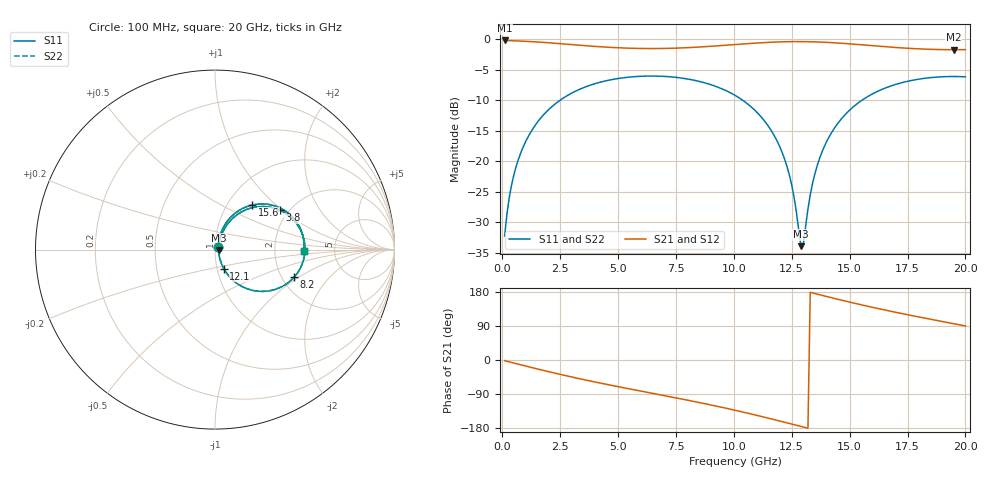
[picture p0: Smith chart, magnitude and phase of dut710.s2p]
! Touchstone file exported from HFSS 2026.1.0
!  File:  C:/ffzhzh/LocalFiles/Ansys_Project_Files/temp_train_TSV_RDL_710_1783200125_55132.aedt
!  Generated:  05:34:07 AM Jul  5, 2026
!  Design:  TSV_RDL
!  Project:  temp_train_TSV_RDL_710_1783200125_55132
! Variables:
!  h_bsmrdl = 4.72um
!  h_ox = 20um
!  h_rdl = 5um
!  h_sub = 56.37um
!  h_tmrdl = 2.67um
!  h_tsv = 56.37um
!  h_via = 3um
!  l_bsmrdl = 383.03um
!  l_sub = 4819.06um
!  l_tmrdl = 776.58um
!  m_sub = 200um
!  pitch = 56.41um
!  r_tsv = 14.25um
!  s_tmrdl = 10um
!  w_bsmrdl = 25.4um
!  w_sub = 500um
!  w_tmrdl = 29.15um
!  x_tsv_center1 = 791.155um
!  x_tsv_center2 = 1199.585um
!  x_tsv_center3 = 2005.315um
!  x_tsv_center4 = 2413.745um
!  x_tsv_center5 = 3219.475um
!  x_tsv_center6 = 3627.905um
# GHz S MA R 50.000000
! Terminal data exported
! Port[1] = TM_RDL1_1_T1
! Port[2] = TM_RDL5_1_T1
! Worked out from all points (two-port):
!   200 points, 100 MHz to 20 GHz, reference 50 ohm
!   highest |S21| = -0.16 dB at 100 MHz (marker M1); lowest = -1.7 dB at 19.5 GHz (marker M2)
!   |S21| within 3 dB of the highest: start of sweep to end of sweep
!   lowest |S11| = -33.9 dB at 12.9 GHz (marker M3), VSWR 1.04, Z = 52 - j0.484 ohm
!   |S11| at or under -10 dB: start of sweep to 2.484 GHz; 10.39 GHz to 15.52 GHz (5.128 GHz wide, 39.6 % of centre)
!   |S22| runs from -33.7 to -6.0 dB; largest |S21 - S12| = 1.5e-14
!   S11 on the Smith chart (normalised r, x): 100 MHz: 1.04, +0.03; 3.8 GHz: 1.79, +0.96; 8.2 GHz: 2.32, -0.92; 12.1 GHz: 1.08, -0.23; 15.6 GHz: 1.30, +0.72; 20 GHz: 2.95, -0.06
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0.1  0.02442 39.3  0.9814 -1.7  0.9814 -1.7  0.02442 39.3
! Gamma 0 0 0 0
! Port Impedance 50 0 50 0
0.3  0.05038 61.1  0.9785 -4.9  0.9785 -4.9  0.05038 61.1
0.5  0.07747 65.4  0.9753 -8.1  0.9753 -8.1  0.07747 65.4
1.1  0.1572 63.9  0.9639 -17.4  0.9639 -17.4  0.1572 63.9
2.1  0.2767 52.7  0.9365 -32.3  0.9365 -32.3  0.2767 52.7
3.5  0.4019 35.1  0.8915 -51.6  0.8915 -51.6  0.4019 35.1
3.8  0.4218 31.5  0.8827 -55.5  0.8827 -55.5  0.4218 31.5
6.8  0.4999 -3.2  0.843 -91.7  0.843 -91.7  0.4999 -3.2
8.2  0.4665 -19.3  0.8602 -108.5  0.8602 -108.5  0.4665 -19.3
10.1  0.3438 -42.7  0.9101 -133.2  0.9101 -133.2  0.3438 -42.6
11.3  0.2176 -57.7  0.9427 -150.6  0.9427 -150.6  0.2176 -57.6
12.1  0.1166 -65.2  0.9567 -162.8  0.9567 -162.8  0.1167 -64.9
12.5  0.06385 -63.2  0.9599 -169.0  0.9599 -169.0  0.06399 -62.7
12.9  0.02017 -13.3  0.9604 -175.3  0.9604 -175.3  0.02069 -12.8
13  0.02099 24.3  0.96 -176.8  0.96 -176.8  0.02151 23.9
13.4  0.06604 68.4  0.9568 176.9  0.9568 176.9  0.06622 68.0
13.7  0.1054 70.3  0.9526 172.3  0.9526 172.3  0.1055 70.0
14.2  0.1696 66.9  0.9426 164.6  0.9426 164.6  0.1697 66.7
15.6  0.3237 50.2  0.9017 144.3  0.9017 144.3  0.3237 50.1
16.7  0.4102 36.6  0.8675 129.6  0.8675 129.6  0.4102 36.6
19.5  0.4969 4.7  0.824 95.7  0.824 95.7  0.4969 4.7
20  0.4939 -0.9  0.8255 89.9  0.8255 89.9  0.4939 -0.8
